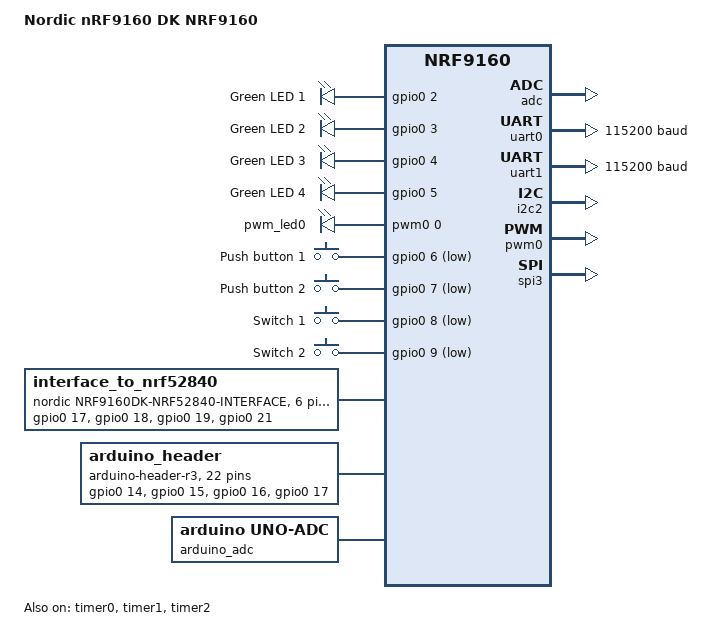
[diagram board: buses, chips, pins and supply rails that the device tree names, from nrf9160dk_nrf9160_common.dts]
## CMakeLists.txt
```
#
# Copyright (c) 2019 Nordic Semiconductor ASA
#
# SPDX-License-Identifier: LicenseRef-BSD-5-Clause-Nordic
#

cmake_minimum_required(VERSION 3.20.0)

find_package(Zephyr REQUIRED HINTS $ENV{ZEPHYR_BASE})
project(E2)
zephyr_compile_definitions(PROJECT_NAME=${PROJECT_NAME})

# NORDIC SDK APP START
target_sources(app PRIVATE src/main.c)
# NORDIC SDK APP END

# Include source directory
target_include_directories(app PRIVATE src)
target_include_directories(app PRIVATE $ENV{ZEPHYR_BASE}/subsys/fs/nvs)

# Application directories
add_subdirectory(src/datetime)
add_subdirectory(src/strings)
add_subdirectory(src/font)
add_subdirectory(src/image)
add_subdirectory(src/lcd)
add_subdirectory(src/key)
add_subdirectory(src/settings)
add_subdirectory(src/inner_flash)
add_subdirectory(src/external_flash)
add_subdirectory(src/uart_ble)
add_subdirectory(src/gps)
add_subdirectory(src/nb)
add_subdirectory(src/screen)
add_subdirectory(src/pmu)
add_subdirectory(src/sos)
add_subdirectory(src/codetrans)
add_subdirectory(src/ucs2)
add_subdirectory(src/communicate)
add_subdirectory(src/logger)
#add_subdirectory(src/cryptoauthentication)

add_subdirectory_ifdef(CONFIG_ALARM_SUPPORT src/alarm)
add_subdirectory_ifdef(CONFIG_ANIMATION_SUPPORT src/animation)
add_subdirectory_ifdef(CONFIG_TOUCH_SUPPORT src/tp)
add_subdirectory_ifdef(CONFIG_IMU_SUPPORT src/imu)
add_subdirectory_ifdef(CONFIG_PPG_SUPPORT src/ppg)
add_subdirectory_ifdef(CONFIG_AUDIO_SUPPORT src/audio)
add_subdirectory_ifdef(CONFIG_TEMP_SUPPORT src/temperature)
add_subdirectory_ifdef(CONFIG_CRC_SUPPORT src/crc_check)
add_subdirectory_ifdef(CONFIG_SYNC_SUPPORT src/sync)
add_subdirectory_ifdef(CONFIG_WIFI_SUPPORT src/wifi)
add_subdirectory_ifdef(CONFIG_WATCHDOG src/watchdog)
add_subdirectory_ifdef(CONFIG_FOTA_DOWNLOAD src/fota)
add_subdirectory_ifdef(CONFIG_DATA_DOWNLOAD_SUPPORT src/data_download)
add_subdirectory_ifdef(CONFIG_BARCODE_SUPPORT src/barcode)
add_subdirectory_ifdef(CONFIG_QRCODE_SUPPORT src/qrcode)
add_subdirectory_ifdef(CONFIG_FACTORY_TEST_SUPPORT src/factory_test)
```

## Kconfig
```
#
# Copyright (c) 2018 Nordic Semiconductor ASA
#
# SPDX-License-Identifier: LicenseRef-BSD-5-Clause-Nordic
#
choice LOG_MODE
	default LOG_MODE_IMMEDIATE
endchoice

menu "GPS"
config GPS_SUPPORT
	bool "gps support"
	default n
endmenu #GPS

menu "GNSS"
choice
	default GNSS_SAMPLE_MODE_CONTINUOUS
	prompt "Select GNSS operation mode"

config GNSS_SAMPLE_MODE_CONTINUOUS
	bool "Continuous tracking"

config GNSS_SAMPLE_MODE_PERIODIC
	bool "Periodic fixes"

config GNSS_SAMPLE_MODE_TTFF_TEST
	bool "Time-to-first-fix (TTFF) test mode"
	select GNSS_SAMPLE_NMEA_ONLY
endchoice

if GNSS_SAMPLE_MODE_PERIODIC
config GNSS_SAMPLE_PERIODIC_INTERVAL
	int "Fix interval for periodic fixes"
	range 10 65535
	default 120
	help
	  Fix interval (in seconds) for periodic fixes.
config GNSS_SAMPLE_PERIODIC_TIMEOUT
	int "Fix timeout for periodic fixes"
	range 0 65535
	default 120
	help
	  Fix timeout (in seconds) for periodic fixes.
	  If set to zero, GNSS is allowed to run indefinitely until a valid PVT estimate is produced.
endif # GNSS_SAMPLE_MODE_PERIODIC

if GNSS_SAMPLE_MODE_TTFF_TEST
config GNSS_SAMPLE_MODE_TTFF_TEST_COLD_START
	bool "Delete GNSS data before each start (cold start)"
	help
	  When enabled, deletes all stored data from GNSS to force a cold start every time GNSS is started.
config GNSS_SAMPLE_MODE_TTFF_TEST_INTERVAL
	int "Time to wait between TTFF tests in seconds"
	range 1 604800
	default 120
endif # GNSS_SAMPLE_MODE_TTFF_TEST

config GNSS_SAMPLE_NMEA_ONLY
	bool "Output only NMEA strings"
	help
	  Outputs only NMEA strings from the GNSS.

choice
	default GNSS_SAMPLE_ANTENNA_ONBOARD
	prompt "Select which antenna to use for GNSS"

config GNSS_SAMPLE_ANTENNA_ONBOARD
	bool "Use onboard antenna"

config GNSS_SAMPLE_ANTENNA_EXTERNAL
	bool "Use external antenna"
endchoice

config GNSS_SAMPLE_AT_MAGPIO
	string "AT%XMAGPIO command"
	# default "AT\%XMAGPIO=1,0,0,1,1,1574,1577" if BOARD_NRF9160DK_NRF9160_NS
	# default "AT\%XMAGPIO=1,1,1,7,1,746,803,2,698,748,2,1710,2200,3,824,894,4,880,960,5,791,849,7,1565,1586" if BOARD_THINGY91_NRF9160_NS
	default "AT\%XMAGPIO=1,1,1,7,1,746,803,2,698,748,2,1710,2200,3,824,894,4,880,960,5,791,849,7,1565,1586"
	help
	  Defines the AT%XMAGPIO command to be sent to GNSS module. Leave
	  empty if this command should not be sent.

config GNSS_SAMPLE_AT_COEX0
	string "AT%XCOEX0 command"
	# default "AT\%XCOEX0=1,1,1565,1586" if (BOARD_NRF9160DK_NRF9160_NS || BOARD_THINGY91_NRF9160_NS) && GNSS_SAMPLE_ANTENNA_ONBOARD
	# default "AT\%XCOEX0" if (BOARD_NRF9160DK_NRF9160_NS || BOARD_THINGY91_NRF9160_NS) && GNSS_SAMPLE_ANTENNA_EXTERNAL
	default "AT\%XCOEX0=1,1,1565,1586"
	help
	  Defines the AT%XCOEX0 command to be sent to GNSS module. Leave
	  empty if this command should not be sent.

endmenu #GNSS

choice
	default GNSS_SAMPLE_ASSISTANCE_NONE
	prompt "Select whether GNSS assistance is used or not"

config GNSS_SAMPLE_ASSISTANCE_NONE
	bool "Assistance not used"

config GNSS_SAMPLE_ASSISTANCE_NRF_CLOUD
	bool "Use nRF Cloud A-GPS or P-GPS"
	select NRF_CLOUD_REST
	imply NRF_CLOUD_AGPS
	select MODEM_JWT
	select MODEM_INFO
	select DATE_TIME

config GNSS_SAMPLE_ASSISTANCE_SUPL
	bool "Use SUPL A-GPS"
	select SUPL_CLIENT_LIB

config GNSS_SAMPLE_ASSISTANCE_MINIMAL
	bool "Use factory almanac, LTE network time and MCC based location"
	select GNSS_SAMPLE_LTE_ON_DEMAND
	select SETTINGS
	select FCB
	select FLASH
	select FLASH_MAP
endchoice

if !GNSS_SAMPLE_ASSISTANCE_NONE
config GNSS_SAMPLE_LTE_ON_DEMAND
	bool "LTE is activated only when needed to fetch A-GPS data"
	depends on !NRF_CLOUD_PGPS
	help
	  Activates LTE only when it is needed to fetch A-GPS data. This is not supported when
	  P-GPS is enabled.

endif # !GNSS_SAMPLE_ASSISTANCE_NONE

if GNSS_SAMPLE_ASSISTANCE_SUPL
config GNSS_SAMPLE_SUPL_HOSTNAME
	string "SUPL server hostname"
	default "supl.google.com"
	help
	  SUPL server hostname.

config GNSS_SAMPLE_SUPL_PORT
	int "SUPL server port number"
	range 0 65535
	default 7276
	help
	  SUPL server port number.
endif # GNSS_SAMPLE_ASSISTANCE_SUPL

if GNSS_SAMPLE_MODE_CONTINUOUS
choice
	default GNSS_SAMPLE_POWER_SAVING_DISABLED
	prompt "Select GNSS power saving mode (duty-cycling)"

config GNSS_SAMPLE_POWER_SAVING_DISABLED
	bool "No power saving"

config GNSS_SAMPLE_POWER_SAVING_MODERATE
	bool "Power saving without significant performance degradation"

config GNSS_SAMPLE_POWER_SAVING_HIGH
	bool "Power saving with acceptable performance degradation"
endchoice
endif # GNSS_SAMPLE_MODE_CONTINUOUS

config GNSS_SAMPLE_LOW_ACCURACY
	bool "Allow low accuracy fixes"
	help
	  Allows fixes with lower accuracy.

if GNSS_SAMPLE_ASSISTANCE_MINIMAL && GNSS_SAMPLE_LOW_ACCURACY
config GNSS_SAMPLE_ASSISTANCE_REFERENCE_ALT
	int "Reference altitude for 3-sat first fix in meters"
	range -32767 32767
	default -32767
	help
	  Reference altitude for 3-sat first fix in meters above the reference ellipsoid surface.
	  The default value -32767 implies that reference altitude is not injected.
endif # GNSS_SAMPLE_ASSISTANCE_MINIMAL && GNSS_SAMPLE_LOW_ACCURACY

menu "MQTT simple sample"
config APPLICATION_WORKQUEUE_STACK_SIZE
	int "Application workqueue stack size"
	default 1024

config APPLICATION_WORKQUEUE_PRIORITY
	int "Application workqueue priority"
	default SYSTEM_WORKQUEUE_PRIORITY
	
config MQTT_LOG_PUB_TOPIC
	string "MQTT log publish topic"
	default "device/e2/pushlog"

config MQTT_PUB_TOPIC
	string "MQTT publish topic"
	default "device/e2/pushdata"

config MQTT_SUB_TOPIC
	string "MQTT subscribe topic"
	default "my/subscribe/topic"

config MQTT_CLIENT_ID
	string "MQTT Client ID"
	default "my-client-id"

config MQTT_USER_NAME
	string "MQTT user name"
	default "admin123"
	
config MQTT_PASSWORD
	string "MQTT password"
	default "admin123"

config MQTT_DOMESTIC_BROKER_HOSTNAME
	string "MQTT broker hostname"
	default "mqtt.eclipse.org"

config MQTT_DOMESTIC_BROKER_PORT
	int "MQTT broker port"
	default 1883
	
config MQTT_FOREIGN_BROKER_HOSTNAME
	string "MQTT broker hostname"
	default "mqtt.eclipse.org"

config MQTT_FOREIGN_BROKER_PORT
	int "MQTT broker port"
	default 1883

config MQTT_MESSAGE_BUFFER_SIZE
	int "MQTT message buffer size"
	default 128

config MQTT_PAYLOAD_BUFFER_SIZE
	int "MQTT payload buffer size"
	default 128

config SEC_TAG
	int "Security tag to use for the connection"
	default 16842753

config PEER_VERIFY
	int "Peer verify parameter for mqtt_client"
	default 1
	help
		Set to 0 for VERIFY_NONE, 1 for VERIFY_OPTIONAL, and 2 for VERIFY_REQUIRED.

config MODEM_AUTO_REQUEST_POWER_SAVING_FEATURES
	bool "Auto request power saving features"
	default y

config LTE_EDRX_ENABLE
	bool "Enable LTE enhanced Discontinuous Reception"

config LTE_RAI_ENABLE
	bool "Enable LTE Release Assistance Indication"
endmenu

menu "WATCH DOG"
config WATCHDOG_TIMEOUT_MSEC
	int "Watchdog timeout in milliseconds"
	default 10000
endmenu

menu "ANIMATION"
config ANIMATION_SUPPORT
	bool "animation support"
	default n
endmenu #ANIMATION

menu "ANIMATION"
config ANIMATION_SUPPORT
	bool "animation support"
	default n
endmenu #ANIMATION

menu "TOUCH"
config TOUCH_SUPPORT
	bool "touch support"
	default n
endmenu #TOUCH

menu "WIFI"
config WIFI_SUPPORT
	bool "wifi support"
	default n
endmenu #WIFI

menu "PPG"
config PPG_SUPPORT
	bool "ppg support"
	default n
endmenu #PPG

menu "IMU"
config IMU_SUPPORT
	bool "imu support"
	default n
config STEP_SUPPORT
	bool "step support"
	default n		
config SLEEP_SUPPORT
	bool "sleep support"
	default n		
config FALL_DETECT_SUPPORT
	bool "fall detect support"
	default n		
endmenu #IMU

menu "AUDIO"
config AUDIO_SUPPORT
	bool "ppg support"
	default n
endmenu #AUDIO

menu "BLE"
config BLE_SUPPORT
	bool "ble support"
	default n
endmenu #BLE

menu "SYNC"
config SYNC_SUPPORT
	bool "sync support"
	default n
endmenu #SYNC

menu "TEMPERATURE"
config TEMP_SUPPORT
	bool "temperature support"
	default n
endmenu #TEMPERATURE

menu "CRC"
config CRC_SUPPORT
	bool "crc check support"
	default n
endmenu #CRC

menu "DATA_DOWNLOAD"
config DATA_DOWNLOAD_SUPPORT
	bool "data download support"
	default n
config DATA_DOWNLOAD_HOST_CN
	string "Download host name(cn)"	
config DATA_DOWNLOAD_HOST_HK
	string "Download host name(hk)"	
# IMG	
config IMG_DATA_UPDATE
	bool "img update support"
	default n
config IMG_DATA_DOWNLOAD_FILE
	string "The file to download"

# FONT
config FONT_DATA_UPDATE
	bool "font update support"
	default n
config FONT_DATA_DOWNLOAD_FILE
	string "The file to download"

# PPG
config PPG_DATA_UPDATE
	bool "ppg update support"
	default n
config PPG_DATA_DOWNLOAD_FILE
	string "The file to download"

# STR
config STR_DATA_UPDATE
	bool "str update support"
	default n
config STR_DATA_DOWNLOAD_FILE
	string "The file to download"
	

config USE_HTTPS
	bool
	prompt "Use HTTPS for download"
	depends on DOWNLOAD_CLIENT_TLS	
endmenu #DATA_DOWNLOAD 

menu "IMG_UPDATE"
config DL_TARGET_UI
	bool "img ui update support"
	default n
endmenu #IMG_UPDATE

menu "FOTA_MQTT"
config FOTA_DOWNLOAD_HOST_CN
	string "Download host name(cn)"
config FOTA_DOWNLOAD_HOST_HK
	string "Download host name(hk)"

config FOTA_DOWNLOAD_FILE
	string "The file to download"

config APPLICATION_VERSION
	int "Application version"
	default 1

config USE_HTTPS
	bool
	prompt "Use HTTPS for download"
	depends on DOWNLOAD_CLIENT_TLS
endmenu #FOTA_MQTT

menu "BAT CODE"
config BARCODE_SUPPORT
	bool "bar code support"
	default n
endmenu #BAT CODE

menu "QR CODE"
config QRCODE_SUPPORT
	bool "qr code support"
	default n
endmenu #QR CODE

menu "WRIST CHECK"
config WRIST_CHECK_SUPPORT
	bool "wrist check support"
	default n
endmenu #WRIST CHECK

menu "FACTORY_TEST"
config FACTORY_TEST_SUPPORT
	bool "factory test support"
	default n
endmenu #FACTORY_TEST_SUPPORT

menu "FAST_KEY"
config FAST_KEY_SUPPORT
	bool "fast key support"
	default n
endmenu #FAST_KEY_SUPPORT

menu "ALARM_SUPPORT"
config ALARM_SUPPORT
	bool "alarm support"
	default n
endmenu #ALARM_SUPPORT

menu "Zephyr Kernel"
source "Kconfig.zephyr"
endmenu

module = APPLICATION_MODULE
module-str = Application module
source "subsys/logging/Kconfig.template.log_config"
```

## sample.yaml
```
sample:
  name: e2_v3_project
tests:
  samples.nrf9160.E2_project.nRF9160:
    build_only: true
    build_on_all: true
    platform_allow: nrf9160dk_nrf9160_ns
    integration_platforms:
      - nrf9160dk_nrf9160_ns
    tags: ci_build
```

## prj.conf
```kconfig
#
# Copyright (c) 2019 Nordic Semiconductor ASA
#
# SPDX-License-Identifier: LicenseRef-BSD-5-Clause-Nordic
#
# General config
CONFIG_NEWLIB_LIBC=y
CONFIG_NEWLIB_LIBC_FLOAT_PRINTF=y
CONFIG_ASSERT=y
CONFIG_REBOOT=y
CONFIG_GPIO=y
CONFIG_TRUSTED_EXECUTION_NONSECURE=y

# Log
CONFIG_LOG=n
CONFIG_USE_SEGGER_RTT=y
CONFIG_LOG_BACKEND_RTT=y
CONFIG_LOG_BACKEND_UART=n
CONFIG_LOG_DEFAULT_LEVEL=4
CONFIG_LOG_MODE_OVERFLOW=y
CONFIG_LOG_BACKEND_RTT_MODE_DROP=y
CONFIG_LOG_BACKEND_SHOW_COLOR=n
CONFIG_LOG_BACKEND_FORMAT_TIMESTAMP=n

# TFM config
#CONFIG_BUILD_WITH_TFM=y
#CONFIG_TFM_PROFILE_TYPE_NOT_SET=y
#CONFIG_TFM_PROFILE_TYPE_MINIMAL=y
#CONFIG_TFM_IPC=n

# PinCtrl
CONFIG_PINCTRL=y
CONFIG_PINCTRL_NRF=y

# watch dog
CONFIG_WATCHDOG=y
CONFIG_WATCHDOG_TIMEOUT_MSEC=10000

# Modem info
CONFIG_MODEM_INFO=y

# Modem library
CONFIG_NRF_MODEM_LIB=y
CONFIG_NRF_MODEM_LIB_SYS_INIT=n

# NVS
CONFIG_FLASH=y
CONFIG_FLASH_PAGE_LAYOUT=y
CONFIG_NVS=y
CONFIG_NVS_LOG_LEVEL_DBG=y
CONFIG_MPU_ALLOW_FLASH_WRITE=y

# GPS
CONFIG_GPS_SUPPORT=y
# Enable to use an external GNSS antenna
CONFIG_GNSS_SAMPLE_ANTENNA_EXTERNAL=y
# Enable to use nRF Cloud A-GPS
CONFIG_GNSS_SAMPLE_ASSISTANCE_NRF_CLOUD=n
# Secure User-Plane Location (SUPL) client library (https://developer.nordicsemi.com/nRF_Connect_SDK/doc/latest/nrf/libraries/others/supl_os_client.html)
CONFIG_GNSS_SAMPLE_ASSISTANCE_SUPL=y

# Console
CONFIG_CONSOLE_SUBSYS=n
CONFIG_CONSOLE_HANDLER=n
CONFIG_CONSOLE_GETCHAR=n
CONFIG_CONSOLE=y
CONFIG_RTT_CONSOLE=y
CONFIG_UART_CONSOLE=n

# Network
CONFIG_NETWORKING=y
CONFIG_NET_NATIVE=n
CONFIG_NET_SOCKETS_OFFLOAD=y
CONFIG_NET_SOCKETS=y
CONFIG_NET_SOCKETS_POSIX_NAMES=y

# Socket
CONFIG_POSIX_MAX_FDS=15
CONFIG_NET_SOCKETS_TLS_MAX_CONTEXTS=5

# LTE link control
CONFIG_LTE_LINK_CONTROL=y
CONFIG_LTE_AUTO_INIT_AND_CONNECT=n
CONFIG_LTE_NETWORK_USE_FALLBACK=y
CONFIG_LTE_NETWORK_TIMEOUT=180
CONFIG_LTE_NETWORK_MODE_LTE_M_GPS=y
CONFIG_LTE_NETWORK_MODE_NBIOT_GPS=n

# PSM
CONFIG_MODEM_AUTO_REQUEST_POWER_SAVING_FEATURES=y
# Set Periodic-TAU timer to 70 mins and Active-Time to 10 seconds.
CONFIG_LTE_PSM_REQ_RPTAU="00000111"
CONFIG_LTE_PSM_REQ_RAT="00000101"

# MQTT
CONFIG_MQTT_LIB=y
CONFIG_MQTT_LIB_TLS=n
CONFIG_MQTT_KEEPALIVE=60
CONFIG_MQTT_PUB_TOPIC="device/e2/pushdata"
CONFIG_MQTT_LOG_PUB_TOPIC="device/e2/pushlog"
CONFIG_MQTT_SUB_TOPIC="device/e2/"
CONFIG_MQTT_CLIENT_ID="my-client-id"
CONFIG_MQTT_USER_NAME="admin123"
CONFIG_MQTT_PASSWORD="admin123"
CONFIG_MQTT_DOMESTIC_BROKER_HOSTNAME="47.107.51.89"
CONFIG_MQTT_DOMESTIC_BROKER_PORT=1883
CONFIG_MQTT_FOREIGN_BROKER_HOSTNAME="18.135.53.53"
CONFIG_MQTT_FOREIGN_BROKER_PORT=1883
CONFIG_MQTT_MESSAGE_BUFFER_SIZE=2176
CONFIG_MQTT_PAYLOAD_BUFFER_SIZE=2048

# Library for buttons and LEDs
CONFIG_DK_LIBRARY=y

# Heap and stacks
CONFIG_HEAP_MEM_POOL_SIZE=16384
CONFIG_MAIN_STACK_SIZE=8192
CONFIG_SYSTEM_WORKQUEUE_STACK_SIZE=2048
CONFIG_HW_STACK_PROTECTION=y

# SPI
CONFIG_SPI=y

# I2C
CONFIG_I2C=y

# UART
CONFIG_SERIAL=y
CONFIG_UART_INTERRUPT_DRIVEN=y

# ANIMATION
CONFIG_ANIMATION_SUPPORT=y

# PPG
CONFIG_PPG_SUPPORT=y

# IMU
CONFIG_IMU_SUPPORT=y
CONFIG_STEP_SUPPORT=y
CONFIG_SLEEP_SUPPORT=y
CONFIG_FALL_DETECT_SUPPORT=y

# WIFI
CONFIG_WIFI_SUPPORT=y

# TP
CONFIG_TOUCH_SUPPORT=y

# AUDIO
CONFIG_AUDIO_SUPPORT=n

# BLE
CONFIG_BLE_SUPPORT=n

# Data Sync
CONFIG_SYNC_SUPPORT=y

# Temperature
CONFIG_TEMP_SUPPORT=y

# CRC Check
CONFIG_CRC_SUPPORT=y

# DEVICE POWER MANAGEMENT
CONFIG_PM_DEVICE=y

# Download client
CONFIG_DOWNLOAD_CLIENT=y
CONFIG_DOWNLOAD_CLIENT_MAX_HOSTNAME_SIZE=192
CONFIG_DOWNLOAD_CLIENT_MAX_FILENAME_SIZE=64
CONFIG_DOWNLOAD_CLIENT_STACK_SIZE=4096

# DATA UPDATE
CONFIG_DATA_DOWNLOAD_SUPPORT=y
CONFIG_DATA_DOWNLOAD_HOST_HK="aug-fm-files-hk.oss-cn-hongkong.aliyuncs.com"
CONFIG_DATA_DOWNLOAD_HOST_CN="aug-fm-files-cn.oss-cn-shenzhen.aliyuncs.com"
# IMG
CONFIG_IMG_DATA_UPDATE=y
CONFIG_IMG_DATA_DOWNLOAD_FILE="e2_img.bin"
# FONT
CONFIG_FONT_DATA_UPDATE=y
CONFIG_FONT_DATA_DOWNLOAD_FILE="e2_font.bin"
# PPG
CONFIG_PPG_DATA_UPDATE=y
CONFIG_PPG_DATA_DOWNLOAD_FILE="e2_ppg.bin"
# STR
CONFIG_STR_DATA_UPDATE=y
CONFIG_STR_DATA_DOWNLOAD_FILE="e2_str.bin"

# fota download
CONFIG_FOTA_DOWNLOAD=y
CONFIG_FOTA_DOWNLOAD_PROGRESS_EVT=y
CONFIG_FOTA_DOWNLOAD_HOST_HK="aug-fm-files-hk.oss-cn-hongkong.aliyuncs.com"
CONFIG_FOTA_DOWNLOAD_HOST_CN="aug-fm-files-cn.oss-cn-shenzhen.aliyuncs.com"
CONFIG_FOTA_DOWNLOAD_FILE="e2_update.bin"
# Image manager
CONFIG_IMG_MANAGER=y
#CONFIG_FLASH=y
CONFIG_IMG_ERASE_PROGRESSIVELY=y
# DFU Target
CONFIG_DFU_TARGET=y
# Modem key management
CONFIG_MODEM_KEY_MGMT=y
# Application Upgrade support
CONFIG_BOOTLOADER_MCUBOOT=y

# bar encode
CONFIG_BARCODE_SUPPORT=n

# QR encode
CONFIG_QRCODE_SUPPORT=y

# wrist off check
CONFIG_WRIST_CHECK_SUPPORT=n

# Facotry test
CONFIG_FACTORY_TEST_SUPPORT=y

# Fast Key
CONFIG_FAST_KEY_SUPPORT=y

# Alarm
CONFIG_ALARM_SUPPORT=n

CONFIG_ENTROPY_GENERATOR=y
CONFIG_TEST_RANDOM_GENERATOR=y
```

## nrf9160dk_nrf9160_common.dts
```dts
/*
 * Copyright (c) 2018-2020 Nordic Semiconductor ASA
 *
 * SPDX-License-Identifier: Apache-2.0
 */
#include "nrf9160dk_nrf9160_common-pinctrl.dtsi"

/ {
	model = "Nordic nRF9160 DK NRF9160";
	compatible = "nordic,nrf9160-dk-nrf9160";

	chosen {
		zephyr,console = &uart0;
		zephyr,shell-uart = &uart0;
		zephyr,uart-mcumgr = &uart0;
	};

	leds {
		compatible = "gpio-leds";
		led0: led_0 {
			gpios = <&gpio0 2 0>;
			label = "Green LED 1";
		};
		led1: led_1 {
			gpios = <&gpio0 3 0>;
			label = "Green LED 2";
		};
		led2: led_2 {
			gpios = <&gpio0 4 0>;
			label = "Green LED 3";
		};
		led3: led_3 {
			gpios = <&gpio0 5 0>;
			label = "Green LED 4";
		};
	};

	pwmleds {
		compatible = "pwm-leds";
		pwm_led0: pwm_led_0 {
			pwms = <&pwm0 0 PWM_MSEC(20) PWM_POLARITY_NORMAL>;
		};
	};

	buttons {
		/*
		 * Unlike most DK boards, we do not actually have 4 buttons
		 * on nRF9160 DK. Instead, we have 2 buttons and 2 switches.
		 * Treat the switches as buttons anyway, for convenience.
		 * This makes life easier for software that wants to deal with
		 * the usual "4 buttons per DK board" convention.
		 */
		compatible = "gpio-keys";
		button0: button_0 {
			gpios = <&gpio0 6 (GPIO_PULL_UP | GPIO_ACTIVE_LOW)>;
			label = "Push button 1";
		};
		button1: button_1 {
			gpios = <&gpio0 7 (GPIO_PULL_UP | GPIO_ACTIVE_LOW)>;
			label = "Push button 2";
		};
		button2: button_2 {
			gpios = <&gpio0 8 (GPIO_PULL_UP | GPIO_ACTIVE_LOW)>;
			label = "Switch 1";
		};
		button3: button_3 {
			gpios = <&gpio0 9 (GPIO_PULL_UP | GPIO_ACTIVE_LOW)>;
			label = "Switch 2";
		};
	};

	interface_to_nrf52840: gpio-interface {
		compatible = "nordic,nrf9160dk-nrf52840-interface";
		#gpio-cells = <2>;
		gpio-map-mask = <0xf 0>;
		gpio-map-pass-thru = <0 0xffffffff>;
		gpio-map = <0 0 &gpio0 17 0>,
			   <1 0 &gpio0 18 0>,
			   <2 0 &gpio0 19 0>,
			   <3 0 &gpio0 21 0>,
			   <4 0 &gpio0 22 0>,
			   <5 0 &gpio0 23 0>;
			   /* 6: COEX0 */
			   /* 7: COEX1 */
			   /* 8: COEX2 */
	};

	nrf52840_reset: gpio-reset {
		compatible = "nordic,nrf9160dk-nrf52840-reset";
		status = "disabled";
		/*
		 * This line is specified as active high for compatibility
		 * with the previously used Kconfig-based configuration.
		 */
		gpios = <&interface_to_nrf52840 5 GPIO_ACTIVE_HIGH>;
	};

	arduino_header: connector {
		compatible = "arduino-header-r3";
		#gpio-cells = <2>;
		gpio-map-mask = <0xffffffff 0xffffffc0>;
		gpio-map-pass-thru = <0 0x3f>;
		gpio-map = <0 0 &gpio0 14 0>,	/* A0 */
			   <1 0 &gpio0 15 0>,	/* A1 */
			   <2 0 &gpio0 16 0>,	/* A2 */
			   <3 0 &gpio0 17 0>,	/* A3 */
			   <4 0 &gpio0 18 0>,	/* A4 */
			   <5 0 &gpio0 19 0>,	/* A5 */
			   <6 0 &gpio0 0 0>,	/* D0 */
			   <7 0 &gpio0 1 0>,	/* D1 */
			   <8 0 &gpio0 2 0>,	/* D2 */
			   <9 0 &gpio0 3 0>,	/* D3 */
			   <10 0 &gpio0 4 0>,	/* D4 */
			   <11 0 &gpio0 5 0>,	/* D5 */
			   <12 0 &gpio0 6 0>,	/* D6 */
			   <13 0 &gpio0 7 0>,	/* D7 */
			   <14 0 &gpio0 8 0>,	/* D8 */
			   <15 0 &gpio0 9 0>,	/* D9 */
			   <16 0 &gpio0 10 0>,	/* D10 */
			   <17 0 &gpio0 11 0>,	/* D11 */
			   <18 0 &gpio0 12 0>,	/* D12 */
			   <19 0 &gpio0 13 0>,	/* D13 */
			   <20 0 &gpio0 30 0>,	/* D14 */
			   <21 0 &gpio0 31 0>;	/* D15 */
	};

	arduino_adc: analog-connector {
		compatible = "arduino,uno-adc";
		#io-channel-cells = <1>;
		io-channel-map = <0 &adc 1>,	/* A0 = P0.14 = AIN1 */
				 <1 &adc 2>,	/* A1 = P0.15 = AIN2 */
				 <2 &adc 3>,	/* A2 = P0.16 = AIN3 */
				 <3 &adc 4>,	/* A3 = P0.17 = AIN4 */
				 <4 &adc 5>,	/* A4 = P0.18 = AIN5 */
				 <5 &adc 6>;	/* A5 = P0.19 = AIN6 */
	};

	/* These aliases are provided for compatibility with samples */
	aliases {
		led0 = &led0;
		led1 = &led1;
		led2 = &led2;
		led3 = &led3;
		pwm-led0 = &pwm_led0;
		sw0 = &button0;
		sw1 = &button1;
		sw2 = &button2;
		sw3 = &button3;
		bootloader-led0 = &led0;
		mcuboot-button0 = &button0;
		mcuboot-led0 = &led0;
		watchdog0 = &wdt0;
	};
};

&adc {
	status = "okay";
};

&gpiote {
	status = "okay";
};

&gpio0 {
	status = "okay";
};

&uart0 {
	status = "okay";
	current-speed = <115200>;
	pinctrl-0 = <&uart0_default>;
	pinctrl-1 = <&uart0_sleep>;
	pinctrl-names = "default", "sleep";
};

arduino_serial: &uart1 {
	status = "okay";
	current-speed = <115200>;
	pinctrl-0 = <&uart1_default>;
	pinctrl-1 = <&uart1_sleep>;
	pinctrl-names = "default", "sleep";
};

&uart2 {
	pinctrl-0 = <&uart2_default>;
	pinctrl-1 = <&uart2_sleep>;
	pinctrl-names = "default", "sleep";
};

arduino_i2c: &i2c2 {
	compatible = "nordic,nrf-twim";
	status = "okay";
	pinctrl-0 = <&i2c2_default>;
	pinctrl-1 = <&i2c2_sleep>;
	pinctrl-names = "default", "sleep";
};

&pwm0 {
	status = "okay";
	pinctrl-0 = <&pwm0_default>;
	pinctrl-1 = <&pwm0_sleep>;
	pinctrl-names = "default", "sleep";
};

arduino_spi: &spi3 {
	compatible = "nordic,nrf-spim";
	status = "okay";
	cs-gpios = <&arduino_header 16 GPIO_ACTIVE_LOW>; /* D10 */
	pinctrl-0 = <&spi3_default>;
	pinctrl-1 = <&spi3_sleep>;
	pinctrl-names = "default", "sleep";
};

&timer0 {
	status = "okay";
};

&timer1 {
	status = "okay";
};

&timer2 {
	status = "okay";
};

&flash0 {

	partitions {
		compatible = "fixed-partitions";
		#address-cells = <1>;
		#size-cells = <1>;

		boot_partition: partition@0 {
			label = "mcuboot";
			reg = <0x00000000 0x10000>;
		};
		slot0_partition: partition@10000 {
			label = "image-0";
		};
		slot0_ns_partition: partition@50000 {
			label = "image-0-nonsecure";
		};
		slot1_partition: partition@80000 {
			label = "image-1";
		};
		slot1_ns_partition: partition@c0000 {
			label = "image-1-nonsecure";
		};
		scratch_partition: partition@f0000 {
			label = "image-scratch";
			reg = <0x000f0000 0xa000>;
		};
		storage_partition: partition@fa000 {
			label = "storage";
			reg = <0x000fa000 0x00006000>;
		};
	};
};

/ {

	reserved-memory {
		#address-cells = <1>;
		#size-cells = <1>;
		ranges;

		sram0_s: image_s@20000000 {
			/* Secure image memory */
		};

		sram0_modem: image_modem@20016000 {
			/* Modem (shared) memory */
		};

		sram0_ns: image_ns@20020000 {
			/* Non-Secure image memory */
		};
	};
};

/* Include partition configuration file */
#include "nrf9160dk_nrf9160_partition_conf.dts"
```

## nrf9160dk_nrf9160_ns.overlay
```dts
/* SPDX-License-Identifier: Apache-2.0 */

&pinctrl
{
	uart0_default: uart0_default
	{
		group1
		{
			psels = <NRF_PSEL(UART_TX, 0, 12)>;
		};
		group2
		{
			psels = <NRF_PSEL(UART_RX, 0, 11)>;
			bias-pull-up;
		};
	};

	uart0_sleep: uart0_sleep
	{
		group1
		{
			psels = <NRF_PSEL(UART_TX, 0, 12)>,
							<NRF_PSEL(UART_RX, 0, 11)>;
			low-power-enable;
		};
	};
	
	uart2_default: uart2_default
	{
		group1
		{
			psels = <NRF_PSEL(UART_TX, 0, 18)>,
							<NRF_PSEL(UART_RX, 0, 19)>;
		};
	};

	uart2_sleep: uart2_sleep
	{
		group1
		{
			psels = <NRF_PSEL(UART_TX, 0, 18)>,
							<NRF_PSEL(UART_RX, 0, 19)>;
			low-power-enable;
		};
	};
	
	spi2_default: spi2_default
	{
		group1
		{
			psels = <NRF_PSEL(SPIM_SCK,  0, 3)>,
							<NRF_PSEL(SPIM_MOSI, 0, 4)>,
							<NRF_PSEL(SPIM_MISO, 0, 5)>;
		};
	};

	spi2_sleep: spi2_sleep
	{
		group1
		{
			psels = <NRF_PSEL(SPIM_SCK,  0, 3)>,
							<NRF_PSEL(SPIM_MOSI, 0, 4)>,
							<NRF_PSEL(SPIM_MISO, 0, 5)>;
			low-power-enable;
		};
	};
	
	spi3_default: spi3_default
	{
		group1
		{
			psels = <NRF_PSEL(SPIM_SCK,  0, 22)>,
							<NRF_PSEL(SPIM_MOSI, 0, 20)>,
							<NRF_PSEL(SPIM_MISO, 0, 5)>;
		};
	};

	spi3_sleep: spi3_sleep
	{
		group1
		{
			psels = <NRF_PSEL(SPIM_SCK,  0, 22)>,
							<NRF_PSEL(SPIM_MOSI, 0, 20)>,
							<NRF_PSEL(SPIM_MISO, 0, 5)>;
			low-power-enable;
		};
	};
	
	i2c1_default: i2c1_default
	{
		group1
		{
			psels = <NRF_PSEL(TWIM_SDA, 0, 30)>,
							<NRF_PSEL(TWIM_SCL, 0, 31)>;
		};
	};

	i2c1_sleep: i2c1_sleep
	{
		group1
		{
			psels = <NRF_PSEL(TWIM_SDA, 0, 30)>,
							<NRF_PSEL(TWIM_SCL, 0, 31)>;
			low-power-enable;
		};
	};
};


&uart0{
	compatible = "nordic,nrf-uarte";
	status = "okay";
	current-speed = <115200>;
	pinctrl-0 = <&uart0_default>;
	pinctrl-1 = <&uart0_sleep>;
	pinctrl-names = "default", "sleep";
};

&uart2{
	compatible = "nordic,nrf-uarte";
	status = "okay";
	current-speed = <115200>;
	pinctrl-0 = <&uart2_default>;
	pinctrl-1 = <&uart2_sleep>;
	pinctrl-names = "default", "sleep";
};

&spi2{
	compatible = "nordic,nrf-spim";
	status = "disabled";
	pinctrl-0 = <&spi2_default>;
	pinctrl-1 = <&spi2_sleep>;
	pinctrl-names = "default", "sleep";
};

&spi3{
	compatible = "nordic,nrf-spim";
	status = "okay";
	pinctrl-0 = <&spi3_default>;
	pinctrl-1 = <&spi3_sleep>;
	pinctrl-names = "default", "sleep";
};

&i2c1{
	compatible = "nordic,nrf-twim";
	status = "okay";
	clock-frequency = <I2C_BITRATE_FAST>;
	pinctrl-0 = <&i2c1_default>;
	pinctrl-1 = <&i2c1_sleep>;
	pinctrl-names = "default", "sleep";
};

&i2c2{
	compatible = "nordic,nrf-twim";
	status = "disabled";
};

&interface_to_nrf52840{
	compatible = "nordic,nrf9160dk-nrf52840-interface";
	status = "disabled";
};
```

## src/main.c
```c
/*
* Copyright (c) 2019 Nordic Semiconductor ASA
*
* SPDX-License-Identifier: LicenseRef-BSD-5-Clause-Nordic
*/

#include <nrf9160.h>
#include <zephyr/kernel.h>
#include <zephyr/device.h>
#include <stdio.h>
#include <zephyr/sys/printk.h>
#include <power/reboot.h>
#include <zephyr/drivers/spi.h>
#include <zephyr/drivers/gpio.h>
#include <modem/nrf_modem_lib.h>
#include <dk_buttons_and_leds.h>
#include "lcd.h"
#include "datetime.h"
#include "font.h"
#include "img.h"
#include "inner_flash.h"
#include "external_flash.h"
#include "uart_ble.h"
#include "settings.h"
#ifdef CONFIG_TOUCH_SUPPORT
#include "CST816.h"
#endif
#include "Max20353.h"
#ifdef CONFIG_IMU_SUPPORT
#include "lsm6dso.h"
#endif
#ifdef CONFIG_ALARM_SUPPORT
#include "Alarm.h"
#endif
#include "gps.h"
#include "screen.h"
#include "codetrans.h"
#ifdef CONFIG_AUDIO_SUPPORT
#include "audio.h"
#endif
#ifdef CONFIG_WATCHDOG
#include "watchdog.h"
#endif
#ifdef CONFIG_TEMP_SUPPORT
#include "temp.h"
#endif
#ifdef CONFIG_WIFI_SUPPORT
#include "esp8266.h"
#endif/*CONFIG_WIFI_SUPPORT*/
#include "logger.h"

static bool sys_pwron_completed_flag = false;

/* Stack definition for application workqueue */
K_THREAD_STACK_DEFINE(nb_stack_area, 4096);
static struct k_work_q nb_work_q;

#ifdef CONFIG_IMU_SUPPORT
K_THREAD_STACK_DEFINE(imu_stack_area, 2048);
static struct k_work_q imu_work_q;
#endif

K_THREAD_STACK_DEFINE(gps_stack_area, 4096);
static struct k_work_q gps_work_q;

void test_show_image(void)
{
	uint8_t i=0;
	uint16_t x,y,w=0,h=0;
	
	LCD_Clear(BLACK);
	
	//LCD_get_pic_size(peppa_pig_160X160, &w, &h);
	//LCD_dis_pic_rotate(0,200,peppa_pig_160X160,270);
	//LCD_dis_pic(0, 0, peppa_pig_160X160);
	LCD_MeasureImage(IMG_ID_STEP_UNIT, &w, &h);
	LCD_ShowImage((LCD_WIDTH-w)/2, (LCD_HEIGHT-h)/2, IMG_ID_STEP_UNIT);
	//LCD_dis_pic_rotate_from_flash((LCD_WIDTH-w)/2, (LCD_HEIGHT-h)/2, IMG_ANALOG_CLOCK_HAND_HOUR_ADDR, 270);
	//LCD_dis_pic_angle_from_flash(0, 0, IMG_ANALOG_CLOCK_HAND_SEC_ADDR, 360);
	while(0)
	{
	#if 0	
		switch(i)
		{
			case 0:
				//LCD_dis_pic(w*0,h*0,peppa_pig_160X160);
				//LCD_dis_pic_trans(w*0,h*0,peppa_pig_80X160,WHITE);
				LCD_dis_pic_from_flash(w*0, h*0, IMG_ANALOG_CLOCK_BG_ADDR);
				//LCD_dis_pic_rotate((LCD_WIDTH-w)/2,(LCD_HEIGHT-h)/2,peppa_pig_160X160,0);
				//LCD_dis_pic_trans_rotate((LCD_WIDTH-w)/2,(LCD_HEIGHT-h)/2,peppa_pig_160X160,WHITE,0);
				break;
			case 1:
				//LCD_dis_pic(w*1,h*0,peppa_pig_160X160);
				//LCD_dis_pic_trans(w*1,h*0,peppa_pig_80X160,WHITE);
				LCD_dis_pic_from_flash(w*1, h*0, IMG_ANALOG_CLOCK_BG_ADDR);
				//LCD_dis_pic_rotate((LCD_WIDTH-w)/2,(LCD_HEIGHT-h)/2,peppa_pig_160X160,90);
				//LCD_dis_pic_trans_rotate((LCD_WIDTH-w)/2,(LCD_HEIGHT-h)/2,peppa_pig_160X160,WHITE,90);
				break;
			case 2:
				//LCD_dis_pic(w*1,h*1,peppa_pig_160X160);
				//LCD_dis_pic_trans(w*1,h*1,peppa_pig_80X160,WHITE);
				LCD_dis_pic_from_flash(w*1, h*1, IMG_ANALOG_CLOCK_BG_ADDR);
				//LCD_dis_pic_rotate((LCD_WIDTH-w)/2,(LCD_HEIGHT-h)/2,peppa_pig_160X160,180);
				//LCD_dis_pic_trans_rotate((LCD_WIDTH-w)/2,(LCD_HEIGHT-h)/2,peppa_pig_160X160,WHITE,180);
				break;
			case 3:
				//LCD_dis_pic(w*0,h*1,peppa_pig_160X160);
				//LCD_dis_pic_trans(w*0,h*1,peppa_pig_80X160,WHITE);
				LCD_dis_pic_from_flash(w*0, h*1, IMG_ANALOG_CLOCK_BG_ADDR);
				//LCD_dis_pic_rotate((LCD_WIDTH-w)/2,(LCD_HEIGHT-h)/2,peppa_pig_160X160,270);
				//LCD_dis_pic_trans_rotate((LCD_WIDTH-w)/2,(LCD_HEIGHT-h)/2,peppa_pig_160X160,WHITE,270);
				break;
			case 4:
				LCD_Fill(w*0,h*0,w,h,BLACK);
				break;
			case 5:
				LCD_Fill(w*1,h*0,w,h,BLACK);
				break;
			case 6:
				LCD_Fill(w*1,h*1,w,h,BLACK);
				break;
			case 7:
				LCD_Fill(w*0,h*1,w,h,BLACK);
				break;
		}
	#endif

		i++;
		if(i==23)
			i = 0;
		
		k_sleep(K_MSEC(1000));								//软件延时1000ms
	}
}

void test_show_stripe(void)
{
	uint16_t x,y,w,h;
	uint8_t i;
	uint16_t color[] = {WHITE,BLACK,RED,GREEN,BLUE,GBLUE,MAGENTA,CYAN,YELLOW,BROWN,BRRED,GRAY};
	
	h = LCD_HEIGHT/8;

	for(i=0;i<8;i++)
	{
		LCD_Fill(0, h*i, LCD_WIDTH, h, color[i%5]);
	}
}

void test_show_color(void)
{
	uint8_t i=0;

	LOGD("test_show_color");
	
	while(1)
	{
		switch(i)
		{
			case 0:
				LCD_Clear(WHITE);
				break;
			case 1:
				LCD_Clear(BLACK);
				break;
			case 2:
				LCD_Clear(RED);
				break;
			case 3:
				LCD_Clear(GREEN);
				break;
			case 4:
				LCD_Clear(BLUE);
				break;
			case 5:
				LCD_Clear(YELLOW);
				break;
			case 6:
				LCD_Clear(GBLUE);
				break;
			case 7:
				LCD_Clear(MAGENTA);
				break;
			case 8:
				LCD_Clear(CYAN);
				break;
			case 9:
				LCD_Clear(BROWN);
				break;
			case 10:
				LCD_Clear(BRRED);
				break;
			case 11:
				LCD_Clear(GRAY);
				break;					
		}
		
		i++;
		if(i>=12)
			i=0;
		
		k_sleep(K_MSEC(1000));								//软件延时1000ms
	}
}

void test_show_string(void)
{
	uint16_t x,y,w,h;
	uint8_t tmpbuf[256] = {0};
	uint16_t test_buf[] = {0x6DF1,0x5733,0x5E02,0x0041,0x0075,0x0067,0x0075,0x0073,0x0074,0x6570,0x7801,0x0030,0x0031,0x0032,0x0033,0x0034,0x0035,0x0000};//深圳市August数码012345

	LCD_Clear(BLACK);
	
	POINT_COLOR=WHITE;								//画笔颜色
	BACK_COLOR=BLACK;  								//背景色 

#ifdef FONTMAKER_UNICODE_FONT
#if 0//def FONT_68
	LCD_SetFontSize(FONT_SIZE_68);					//设置字体大小
#elif 0//defined(FONT_48)
	LCD_SetFontSize(FONT_SIZE_48);					//设置字体大小
#elif 0//defined(FONT_32)
	LCD_SetFontSize(FONT_SIZE_32);					//设置字体大小	
#elif defined(FONT_28)
	//LCD_SetFontSize(FONT_SIZE_28);					//锟斤拷锟斤拷锟斤拷锟斤拷锟叫?
#elif defined(FONT_20)
	//LCD_SetFontSize(FONT_SIZE_20);		
#elif defined(FONT_24)
	//LCD_SetFontSize(FONT_SIZE_24);					//锟斤拷锟斤拷锟斤拷锟斤拷锟叫?
#elif defined(FONT_16)
	//LCD_SetFontSize(FONT_SIZE_16);					//锟斤拷锟斤拷锟斤拷锟斤拷锟叫?
#endif
	//LCD_MeasureUniString(test_buf, &w, &h);

	LCD_SetFontSize(FONT_SIZE_16);
	LCD_MeasureUniString(test_buf, &w, &h);
	LCD_ShowUniString(10,80,test_buf);
	LCD_SetFontSize(FONT_SIZE_20);
	LCD_MeasureUniString(test_buf, &w, &h);
	LCD_ShowUniString(10,100,test_buf);
	LCD_SetFontSize(FONT_SIZE_28);
	LCD_MeasureUniString(test_buf, &w, &h);
	LCD_ShowUniString(10,130,test_buf);
	//LCD_ShowUniString(x,y,test_buf);

#else

	strcpy(enbuf, "August Shenzhen Digital Ltd");
	strcpy(cnbuf, "深圳市奥科斯数码有限公司");
	strcpy(jpbuf, "深セン市オーコスデジタル有限会社");

#ifdef FONT_32
	LCD_SetFontSize(FONT_SIZE_32);					//设置字体大小	
#elif defined(FONT_24)
	LCD_SetFontSize(FONT_SIZE_24);					//设置字体大小
#elif defined(FONT_16)
	LCD_SetFontSize(FONT_SIZE_16);					//设置字体大小
#endif

	LCD_MeasureString(enbuf,&w,&h);
	x = (w > LCD_WIDTH)? 0 : (LCD_WIDTH-w)/2;
	y = y + h + 2;	
	LCD_ShowString(x,y,enbuf);
	
	LCD_MeasureString(cnbuf,&w,&h);
	x = (w > LCD_WIDTH)? 0 : (LCD_WIDTH-w)/2;
	y = y + h + 2;
	LCD_ShowString(x,y,cnbuf);
	
	LCD_MeasureString(jpbuf,&w,&h);
	x = (w > LCD_WIDTH)? 0 : (LCD_WIDTH-w)/2;
	y = y + h + 2;
	LCD_ShowString(x,y,jpbuf);

#endif
}

void test_notify(void)
{
	notify_infor infor = {0};
	uint16_t str_note[LANGUAGE_MAX][80] = {
											{0x0054,0x0068,0x0065,0x0020,0x0074,0x0069,0x006D,0x0069,0x006E,0x0067,0x0020,0x006D,0x0065,0x0061,0x0073,0x0075,0x0072,0x0065,0x006D,0x0065,0x006E,0x0074,0x0020,0x0069,0x0073,0x0020,0x0061,0x0062,0x006F,0x0075,0x0074,0x0020,0x0074,0x006F,0x0020,0x0073,0x0074,0x0061,0x0072,0x0074,0x002C,0x0020,0x0061,0x006E,0x0064,0x0020,0x0074,0x0068,0x0069,0x0073,0x0020,0x006D,0x0065,0x0061,0x0073,0x0075,0x0072,0x0065,0x006D,0x0065,0x006E,0x0074,0x0020,0x0069,0x0073,0x0020,0x006F,0x0076,0x0065,0x0072,0x0021,0x0000},//The timing measurement is about to start, and this measurement is over!
											{0x0044,0x0069,0x0065,0x0020,0x005A,0x0065,0x0069,0x0074,0x006D,0x0065,0x0073,0x0073,0x0075,0x006E,0x0067,0x0020,0x0073,0x0074,0x0065,0x0068,0x0074,0x0020,0x006B,0x0075,0x0072,0x007A,0x0020,0x0062,0x0065,0x0076,0x006F,0x0072,0x002C,0x0020,0x0075,0x006E,0x0064,0x0020,0x0064,0x0069,0x0065,0x0073,0x0065,0x0020,0x004D,0x0065,0x0073,0x0073,0x0075,0x006E,0x0067,0x0020,0x0069,0x0073,0x0074,0x0020,0x0076,0x006F,0x0072,0x0062,0x0065,0x0069,0x0021,0x0000},//Die Zeitmessung steht kurz bevor, und diese Messung ist vorbei!
											{0x5B9A,0x65F6,0x6D4B,0x91CF,0x5373,0x5C06,0x5F00,0x59CB,0xFF0C,0x672C,0x6B21,0x6D4B,0x91CF,0x7ED3,0x675F,0xFF01,0x0000},//定时测量即将开始，本次测量结束！
										};

#ifdef FONTMAKER_UNICODE_FONT
	LCD_SetFontSize(FONT_SIZE_20);
#else		
	LCD_SetFontSize(FONT_SIZE_16);
#endif
	
	infor.x = 0;
	infor.y = 0;
	infor.w = LCD_WIDTH;
	infor.h = LCD_HEIGHT;

	infor.align = NOTIFY_ALIGN_CENTER;
	infor.type = NOTIFY_TYPE_POPUP;

	infor.img_count = 0;
	mmi_ucs2cpy(infor.text, (uint8_t*)str_note[0]);

	DisplayPopUp(infor);
}

static void modem_init(void)
{
	nrf_modem_lib_init(NORMAL_MODE);
	boot_write_img_confirmed();
}

void system_init(void)
{
	k_sleep(K_MSEC(500));//xb test 2022-03-11 启动时候延迟0.5S,等待其他外设完全启动

	modem_init();

#ifdef CONFIG_FOTA_DOWNLOAD
	fota_init();
#endif

	InitSystemSettings();

#ifdef CONFIG_IMU_SUPPORT
	init_imu_int1();//xb add 2022-05-27
#endif
#ifdef CONFIG_PPG_SUPPORT
	PPG_i2c_off();
#endif
	pmu_init();
	key_init();
	LCD_Init();
	flash_init();
	
	ShowBootUpLogo();
	
#ifdef CONFIG_PPG_SUPPORT	
	PPG_init();
#endif
#ifdef CONFIG_AUDIO_SUPPORT	
	audio_init();
#endif
	ble_init();
#ifdef CONFIG_WIFI_SUPPORT
	wifi_init();
#endif
#ifdef CONFIG_IMU_SUPPORT
	IMU_init(&imu_work_q);
#endif
#ifdef CONFIG_TEMP_SUPPORT
	temp_init();
#endif
#ifdef CONFIG_DATA_DOWNLOAD_SUPPORT
	dl_init();
#endif
#ifdef TEST_DEBUG
	LogInit();
#endif

	NB_init(&nb_work_q);
	GPS_init(&gps_work_q);
}

void work_init(void)
{
	k_work_queue_start(&nb_work_q, nb_stack_area,
					K_THREAD_STACK_SIZEOF(nb_stack_area),
					CONFIG_APPLICATION_WORKQUEUE_PRIORITY,NULL);
#ifdef CONFIG_IMU_SUPPORT	
	k_work_queue_start(&imu_work_q, imu_stack_area,
					K_THREAD_STACK_SIZEOF(imu_stack_area),
					CONFIG_APPLICATION_WORKQUEUE_PRIORITY,NULL);
#endif
	k_work_queue_start(&gps_work_q, gps_stack_area,
					K_THREAD_STACK_SIZEOF(gps_stack_area),
					CONFIG_APPLICATION_WORKQUEUE_PRIORITY,NULL);	
	
	if(IS_ENABLED(CONFIG_WATCHDOG))
	{
		watchdog_init_and_start(&k_sys_work_q);
	}
}

bool system_is_completed(void)
{
	return sys_pwron_completed_flag;
}

void system_init_completed(void)
{
	if(!sys_pwron_completed_flag)
		sys_pwron_completed_flag = true;
}

/***************************************************************************
* 描  述 : main函数 
* 入  参 : 无 
* 返回值 : int 类型
**************************************************************************/
int main(void)
{
	work_init();
	system_init();

//	test_show_string();
//	test_show_image();
//	test_show_color();
//	test_show_stripe();
//	test_nvs();
//	test_flash();
//	test_uart_ble();
//	test_sensor();
//	test_show_digital_clock();
//	test_sensor();
//	test_pmu();
//	test_crypto();
//	test_imei_for_qr();
//	test_tp();
//	test_gps_on();
//	test_nb();
//	test_i2c();
//	test_bat_soc();
//	test_notify();
//	test_wifi();
//	LogInit();

	while(1)
	{
		KeyMsgProcess();
		TimeMsgProcess();
		NBMsgProcess();
		GPSMsgProcess();
		PMUMsgProcess();
	#ifdef CONFIG_IMU_SUPPORT	
		IMUMsgProcess();
	#ifdef CONFIG_FALL_DETECT_SUPPORT
		FallMsgProcess();
	#endif
	#endif
	#ifdef CONFIG_PPG_SUPPORT	
		PPGMsgProcess();
	#endif
		LCDMsgProcess();
	#ifdef CONFIG_TOUCH_SUPPORT
		TPMsgProcess();
	#endif
	#ifdef CONFIG_ALARM_SUPPORT
		AlarmMsgProcess();
	#endif
		SettingsMsgPorcess();
		SOSMsgProc();
	#ifdef CONFIG_WIFI_SUPPORT
		WifiMsgProcess();
	#endif
		UartMsgProc();
	#ifdef CONFIG_ANIMATION_SUPPORT
		AnimaMsgProcess();
	#endif		
		ScreenMsgProcess();
	#ifdef CONFIG_DATA_DOWNLOAD_SUPPORT
		DlMsgProc();
	#endif
	#ifdef CONFIG_FOTA_DOWNLOAD
		FotaMsgProc();
	#endif
	#ifdef CONFIG_AUDIO_SUPPORT
		AudioMsgProcess();
	#endif
	#ifdef CONFIG_SYNC_SUPPORT
		SyncMsgProcess();
	#endif
	#ifdef CONFIG_TEMP_SUPPORT
		TempMsgProcess();
	#endif
	#ifdef CONFIG_FACTORY_TEST_SUPPORT
		FactoryTestProccess();
	#endif
	#ifdef TEST_DEBUG
		LogMsgProcess();
	#endif
		system_init_completed();
		k_cpu_idle();
	}
}
```
